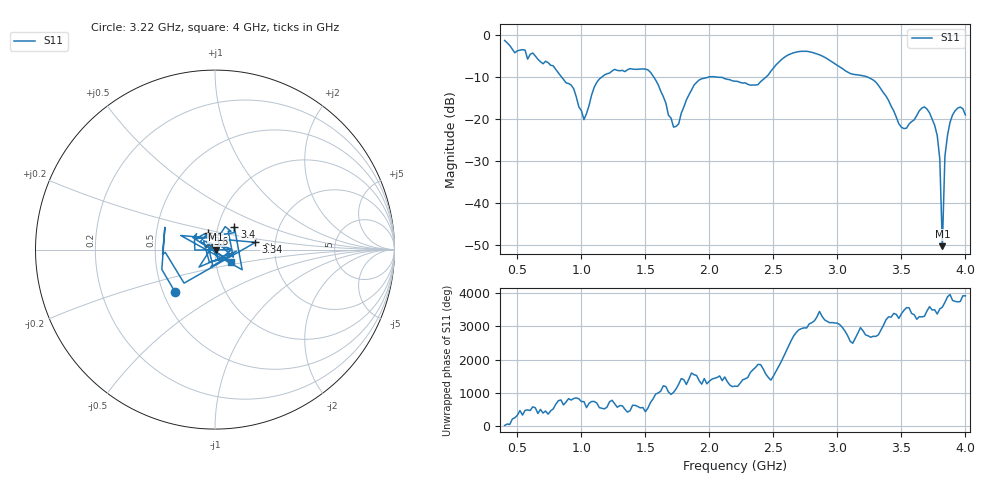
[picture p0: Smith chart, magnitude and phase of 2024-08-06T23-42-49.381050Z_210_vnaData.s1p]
!Created with skrf (http://scikit-rf.org).
# Hz S RI R 50.0
!freq ReS11 ImS11
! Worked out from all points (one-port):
!   181 points, 400 MHz to 4 GHz, reference 50 ohm
!   lowest |S11| = -50.4 dB at 3.82 GHz (marker M1), VSWR 1.01, Z = 50.3 - j0.107 ohm
!   |S11| at or under -10 dB: 1.567 GHz to 1.988 GHz (421 MHz wide, 23.7 % of centre); 2.083 GHz to 2.44 GHz (357.3 MHz wide, 15.8 % of centre); 3.24 GHz to end of sweep (the widest 3 of 4)
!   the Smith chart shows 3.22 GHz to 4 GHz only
!   S11 on the Smith chart (normalised r, x): 3.22 GHz: 0.58, -0.31; 3.34 GHz: 1.58, +0.13; 3.4 GHz: 1.20, +0.31; 3.6 GHz: 0.91, +0.16; 4 GHz: 1.18, -0.17
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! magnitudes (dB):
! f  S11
! 400 MHz  -1.2
! 860 MHz  -10.5
! 940 MHz  -12.7
! 1.02 GHz  -20.1
! 1.12 GHz  -11.2
! 1.3 GHz  -8.4
! 1.52 GHz  -8.2
! 1.72 GHz  -21.9
! 1.76 GHz  -21.1
! 1.92 GHz  -10.6
! 2.2 GHz  -10.9
! 2.38 GHz  -11.7
! 2.66 GHz  -4.1
! 3.1 GHz  -9.1
! 3.22 GHz  -9.8
! 3.34 GHz  -12.8
! 3.4 GHz  -15.5
! 3.5 GHz  -21.9
! 3.56 GHz  -21.2
! 3.6 GHz  -20.2
! 3.68 GHz  -17.1
! 3.78 GHz  -23.9
! 3.8 GHz  -29.5
! 3.82 GHz  -50.4
! 3.84 GHz  -28.9
! 3.86 GHz  -23.9
! 3.92 GHz  -18.0
! 4 GHz  -19.0
